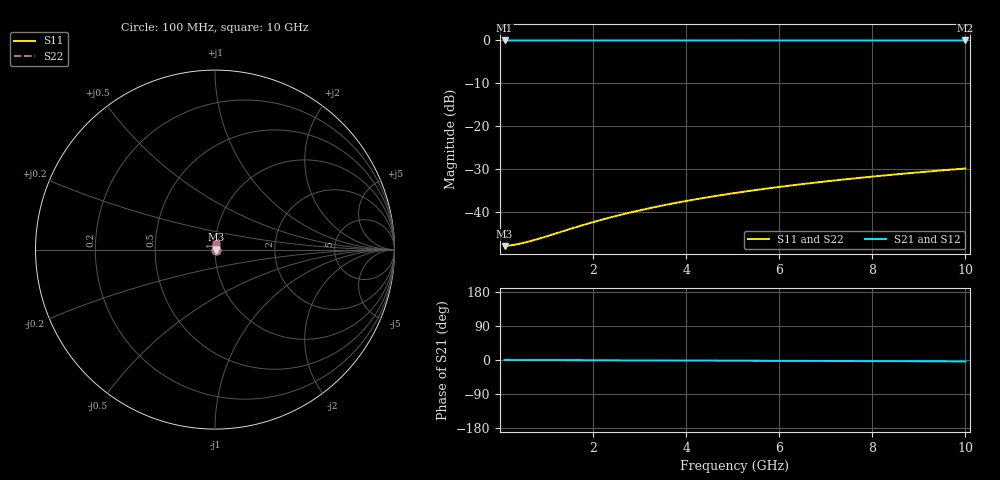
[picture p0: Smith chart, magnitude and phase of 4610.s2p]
# Hz S RI R 50.00
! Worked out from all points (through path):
!   100 points, 100 MHz to 10 GHz, reference 50 ohm
!   highest |S21| = -0.03 dB at 100 MHz (marker M1); lowest = 0.0 dB at 10 GHz (marker M2)
!   lowest |S11| = -48.0 dB at 100 MHz (marker M3), VSWR 1.01, Z = 50.4 + j0.0318 ohm
!   |S11| at or under -10 dB: start of sweep to end of sweep
!   |S22| runs from -48.0 to -29.9 dB; largest |S21 - S12| = 0
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1e8  0.00398 0.000316  0.996 -0.000639  0.996 -0.000639  0.00398 0.000316
3e8  0.00403 0.000947  0.996 -0.00192  0.996 -0.00192  0.00403 0.000947
4e8  0.00405 0.00126  0.996 -0.00255  0.996 -0.00255  0.00405 0.00126
5e8  0.00406 0.00158  0.9959 -0.00319  0.9959 -0.00319  0.00406 0.00158
7e8  0.00409 0.00221  0.9959 -0.00447  0.9959 -0.00447  0.00409 0.00221
9e8  0.00411 0.00284  0.9959 -0.00575  0.9959 -0.00575  0.00411 0.00284
1.5e9  0.00418 0.00474  0.9958 -0.00958  0.9958 -0.00958  0.00418 0.00474
1.8e9  0.00422 0.00568  0.9958 -0.0115  0.9958 -0.0115  0.00422 0.00568
2.2e9  0.00427 0.00694  0.9957 -0.014  0.9957 -0.014  0.00427 0.00694
2.6e9  0.00433 0.00821  0.9956 -0.0166  0.9956 -0.0166  0.00433 0.00821
3e9  0.00439 0.00947  0.9956 -0.0192  0.9956 -0.0192  0.00439 0.00947
3.4e9  0.00446 0.0107  0.9955 -0.0217  0.9955 -0.0217  0.00446 0.0107
3.8e9  0.00453 0.012  0.9954 -0.0243  0.9954 -0.0243  0.00453 0.012
4.2e9  0.00461 0.0132  0.9953 -0.0268  0.9953 -0.0268  0.00461 0.0132
4.6e9  0.00469 0.0145  0.9952 -0.0294  0.9952 -0.0294  0.00469 0.0145
5.1e9  0.0048 0.0161  0.995 -0.0326  0.995 -0.0326  0.0048 0.0161
5.9e9  0.005 0.0186  0.9948 -0.0377  0.9948 -0.0377  0.005 0.0186
6.7e9  0.00523 0.0211  0.9945 -0.0428  0.9945 -0.0428  0.00523 0.0211
7.5e9  0.00548 0.0236  0.9942 -0.0478  0.9942 -0.0478  0.00548 0.0236
8.4e9  0.00579 0.0264  0.9938 -0.0536  0.9938 -0.0536  0.00579 0.0264
9.2e9  0.0061 0.029  0.9934 -0.0587  0.9934 -0.0587  0.0061 0.029
1e10  0.00643 0.0315  0.993 -0.0638  0.993 -0.0638  0.00643 0.0315
